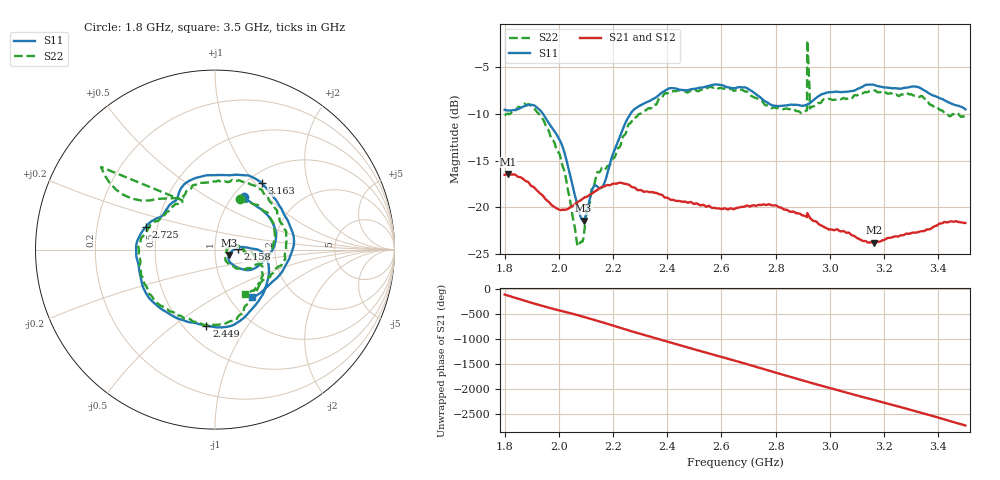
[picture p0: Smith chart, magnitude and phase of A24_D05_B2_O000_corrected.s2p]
! Created with skrf 1.9.0 (http://scikit-rf.org).
# Hz S RI R 50.0
!freq ReS11 ImS11 ReS21 ImS21 ReS12 ImS12 ReS22 ImS22
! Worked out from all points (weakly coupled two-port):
!   1601 points, 1.8 GHz to 3.5 GHz, reference 50 ohm
!   highest |S21| = -16.45 dB at 1.812 GHz (marker M1); lowest = -23.8 dB at 3.163 GHz (marker M2)
!   lowest |S11| = -21.4 dB at 2.091 GHz (marker M3), VSWR 1.19, Z = 58.5 - j3.53 ohm
!   |S11| at or under -10 dB: 1.942 GHz to 2.264 GHz (321.8 MHz wide, 15.3 % of centre)
!   |S22| runs from -24.2 to -2.1 dB; largest |S21 - S12| = 0.0027
!   S11 on the Smith chart (normalised r, x): 1.8 GHz: 1.13, +0.74; 2.158 GHz: 1.29, +0.01; 2.449 GHz: 0.64, -0.66; 2.725 GHz: 0.43, +0.13; 3.163 GHz: 1.16, +1.08; 3.5 GHz: 1.27, -0.75
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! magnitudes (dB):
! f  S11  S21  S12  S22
! 1.8 GHz  -9.5  -16.5  -16.5  -10.1
! 1.812 GHz  -9.6  -16.5  -16.5  -10.0
! 1.885 GHz  -9.1  -17.3  -17.3  -9.0
! 1.941 GHz  -10.0  -18.8  -18.8  -10.6
! 2.013 GHz  -13.4  -20.3  -20.3  -15.5
! 2.067 GHz  -19.6  -19.5  -19.5  -23.8
! 2.084 GHz  -21.3  -19.2  -19.2  -23.7
! 2.091 GHz  -21.4  -19.0  -19.1  -23.3
! 2.127 GHz  -17.9  -18.4  -18.4  -17.7
! 2.158 GHz  -17.9  -17.8  -17.8  -15.8
! 2.26 GHz  -10.2  -17.6  -17.6  -11.0
! 2.367 GHz  -8.0  -18.6  -18.5  -8.5
! 2.449 GHz  -7.4  -19.4  -19.4  -7.5
! 2.65 GHz  -7.2  -20.2  -20.1  -7.5
! 2.725 GHz  -7.8  -19.8  -19.8  -8.3
! 2.9 GHz  -9.1  -20.9  -20.9  -9.9
! 2.925 GHz  -8.9  -21.1  -21.1  -7.4
! 2.934 GHz  -8.7  -21.3  -21.3  -9.2
! 3.163 GHz  -6.9  -23.8  -23.8  -7.5
! 3.217 GHz  -7.2  -23.3  -23.3  -7.8
! 3.324 GHz  -7.1  -22.7  -22.6  -8.1
! 3.5 GHz  -9.5  -21.7  -21.7  -10.5
